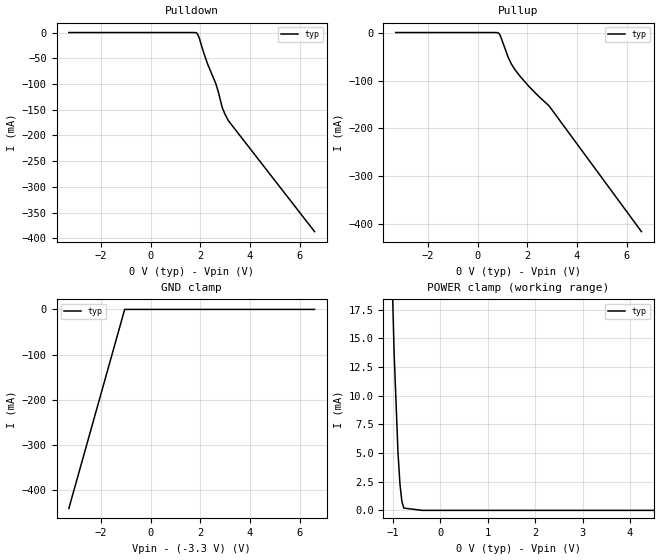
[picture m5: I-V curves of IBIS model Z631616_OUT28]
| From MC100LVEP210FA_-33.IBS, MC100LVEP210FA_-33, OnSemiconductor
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| (C) COPYRIGHT 1993-2000
| MENTOR GRAPHICS CORPORATION
| ICX STANDARD LIBRARY, ICX PROJECT MODELING,
| ICX CUSTOM MODELING, ICX VENDOR MODEL
| ALL RIGHTS RESERVED.
| THE FOLLOWING ARE TRADEMARKS OR SERVICE MARKS OF
| MENTOR GRAPHICS CORPORATION:ICX (R), ICX STANDARD
| LIBRARY(R), ICX PROJECT MODELING(R), ICX CUSTOM
| MODELING(R), qualityIBIS(TM), MODELVIEWER(TM),
| AND MODELEDITOR(TM)
| ALL COPIES OF SOFTWARE, INCLUDING BUT NOT LIMITED TO
| ANY MODIFICATIONS, ENHANCEMENTS OR DERIVATIVE WORKS,
| MUST CONTAIN ALL MENTOR GRAPHICS CORPORATION'S
| NOTICES AND LEGENDS, INCLUDING THOSE EMBEDDED IN
| SOFTWARE AND THOSE AFFIXED TO SOFTWARE MEDIUM
| AND CONTAINER, AS RECEIVED FROM MENTOR GRAPHICS
| CORPORATION.
| Model Application Version 1.89 2/18/99.
[Model] Z631616_OUT28
Model_type Output_ECL
Vref=-2.000V
Rref=50.00ohms
Cref=0.000F
Vmeas=-1.400V
C_comp 1.000pF NA NA
| variable typ   min   max
[Voltage Range] -3.300V NA NA
[POWER Clamp Reference] 0.000V NA NA
[Pullup Reference] 0.000V NA NA
[Pulldown Reference] 0.000V NA NA
[GND Clamp Reference] -3.300V NA NA
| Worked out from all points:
|   POWER clamp passes 1 mA (typ) near -0.82 V on its own axis
[GND Clamp]
-3.3V     -441.6mA   NA         NA
-1.05V    0A         NA         NA
6.6V      0A         NA         NA
[Pulldown]
-3.3V     0A         NA         NA
1.743V    0A         NA         NA
1.865V    -1.6mA     NA         NA
1.946V    -9.4mA     NA         NA
2.128V    -38.5mA    NA         NA
2.29V     -61.1mA    NA         NA
2.615V    -98.5mA    NA         NA
2.716V    -114.2mA   NA         NA
2.878V    -145.4mA   NA         NA
2.98V     -157.5mA   NA         NA
3.122V    -170.9mA   NA         NA
6.6V      -386.8mA   NA         NA
[Pullup]
-3.3V     0A         NA         NA
750mV     0A         NA         NA
851mV     -1.5mA     NA         NA
932mV     -8.9mA     NA         NA
1.236V    -52.3mA    NA         NA
1.358V    -65.4mA    NA         NA
1.5V      -77.1mA    NA         NA
2.047V    -111.2mA   NA         NA
2.878V    -152.9mA   NA         NA
6.6V      -415mA     NA         NA
[POWER Clamp]
-3.3V     377.8mA    NA         NA
-973mV    13.6mA     NA         NA
-892mV    5mA        NA         NA
-851mV    2.3mA      NA         NA
-811mV    800uA      NA         NA
-770mV    200uA      NA         NA
-385mV    0A         NA         NA
6.6V      0A         NA         NA
[Ramp]
| variable typ min max
dV/dt_r 519.5m/142.6p NA NA
dV/dt_f 519.5m/135.0p NA NA
R_load = 50.00Ohms
